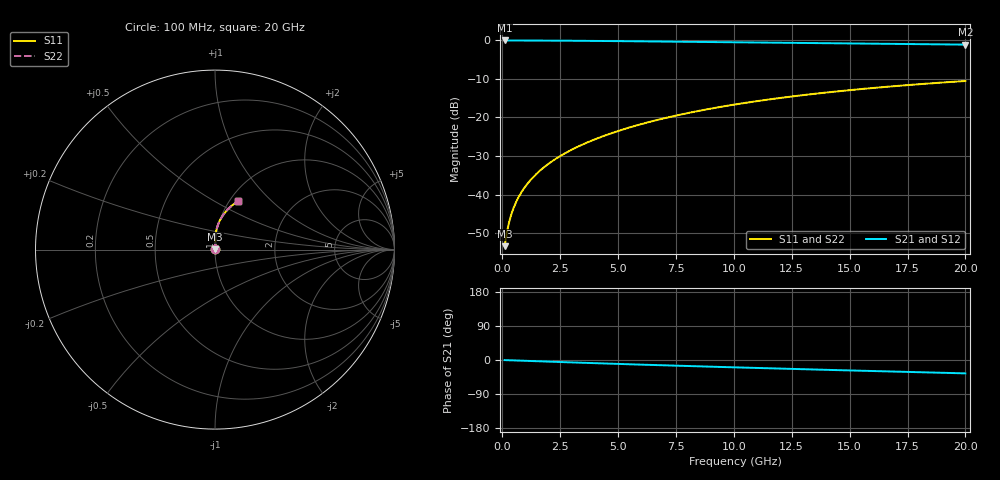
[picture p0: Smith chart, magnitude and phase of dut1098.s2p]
! Touchstone file exported from HFSS 2024.1.0
!  File:  C:/UserFiles/LocalFiles/RDL_TSV_Batchsim/temp_RDL_top_1098_1780046229.aedt
!  Generated:  05:19:08 PM May 29, 2026
!  Design:  RDL_top
!  Project:  temp_RDL_top_1098_1780046229
!  Setup:  Setup1
!  Solution:  Sweep
! Variables:
!  dtsv = 10.80580581um
!  hbump = 3um
!  htsv = 93.27um
!  ldown = 100um
!  lrdl = 509.43um
!  p = 40
!  p1 = 52.94um
!  rhole = 1um
!  t = 450um
!  tdown = 3.915915916um
!  trdl = 4.88um
!  wdown = 15.38538539um
!  wrdl = 25.98um
# GHz S MA R 50.000000
! Terminal data exported
! Port[1] = Box2_T1
! Port[2] = Box2_T2
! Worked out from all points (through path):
!   200 points, 100 MHz to 20 GHz, reference 50 ohm
!   highest |S21| = -0.01 dB at 100 MHz (marker M1); lowest = -1.1 dB at 20 GHz (marker M2)
!   group delay of S21, straight-line fit = 4.84 ps
!   lowest |S11| = -53.4 dB at 100 MHz (marker M3), VSWR 1.00, Z = 50.2 + j0.141 ohm
!   |S11| at or under -10 dB: start of sweep to end of sweep
!   |S22| runs from -53.4 to -10.5 dB; largest |S21 - S12| = 2.9e-15
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0.1  0.002142 41.0  0.9984 -0.2  0.9984 -0.2  0.002142 41.0
! Gamma 0 0 0 0
! Port Impedance 50 0 50 0
0.2  0.003255 58.2  0.9982 -0.4  0.9982 -0.4  0.003255 58.2
0.3  0.004462 65.8  0.9981 -0.7  0.9981 -0.7  0.004462 65.8
0.4  0.005665 70.0  0.9979 -0.9  0.9979 -0.9  0.005665 70.0
0.5  0.006855 72.9  0.9977 -1.1  0.9977 -1.1  0.006855 72.9
0.6  0.008037 75.0  0.9976 -1.3  0.9976 -1.3  0.008037 75.0
0.8  0.0104 78.2  0.9973 -1.7  0.9973 -1.7  0.0104 78.1
1.1  0.01399 81.2  0.9967 -2.4  0.9967 -2.4  0.01399 81.2
1.3  0.01642 82.7  0.9962 -2.8  0.9962 -2.8  0.01642 82.6
1.6  0.02011 84.3  0.9955 -3.5  0.9955 -3.5  0.02011 84.3
2.1  0.02642 86.1  0.9938 -4.5  0.9938 -4.5  0.02641 86.0
2.7  0.03423 87.4  0.9914 -5.8  0.9914 -5.8  0.03422 87.4
3.5  0.04507 88.3  0.9875 -7.4  0.9875 -7.4  0.04506 88.3
4.2  0.05498 88.6  0.9836 -8.8  0.9836 -8.8  0.05495 88.6
5  0.06674 88.5  0.9788 -10.4  0.9788 -10.4  0.06669 88.5
6.8  0.09463 87.1  0.9672 -13.7  0.9672 -13.7  0.09454 87.1
8.4  0.1205 85.0  0.9566 -16.6  0.9566 -16.6  0.1204 85.0
10.1  0.1483 82.3  0.9453 -19.5  0.9453 -19.5  0.1482 82.2
11.7  0.1744 79.4  0.9349 -22.2  0.9349 -22.2  0.1742 79.4
13.4  0.2015 76.4  0.9238 -25.0  0.9238 -25.0  0.2013 76.3
16.7  0.2516 70.4  0.9027 -30.2  0.9027 -30.2  0.2513 70.3
20  0.2975 64.7  0.8817 -35.3  0.8817 -35.3  0.2971 64.6
